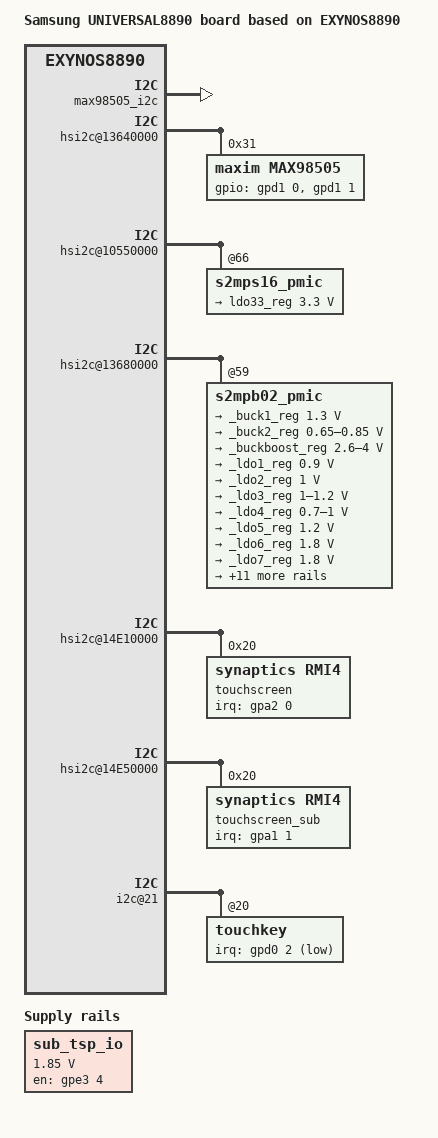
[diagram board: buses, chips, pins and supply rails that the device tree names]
/*
 * SAMSUNG UNIVERSAL8890 board device tree source
 *
 * Copyright (c) 2015 Samsung Electronics Co., Ltd.
 *		http://www.samsung.com
 *
 * This program is free software; you can redistribute it and/or modify
 * it under the terms of the GNU General Public License version 2 as
 * published by the Free Software Foundation.
*/
/dts-v1/;
#include "exynos8890-vlte_common.dtsi"
#include "exynos8890-vlte_gpio_01.dtsi"
#include "exynos8890-sound-cs47l91.dtsi"
#include "exynos8890-vlte_eur_battery_01.dtsi"
#include "exynos8890-vlte_display_01.dtsi"
#include "exynos8890-vlte_mst_01.dtsi"
#include "exynos8890-vlte_fingerprint-sensor_00.dtsi"
/ {

	model = "Samsung UNIVERSAL8890 board based on EXYNOS8890";
	model_info-chip = <8890>;
	model_info-platform = "android";
	model_info-subtype = "samsung";
	model_info-hw_rev = <1>;
	model_info-hw_rev_end = <1>;
	compatible = "samsung,exynos8890","samsung,UNIVERSAL8890";

	audio_pdata {
		compatible = "samsung,audio-pdata";
		seamless_voicewakeup;
		status = "okay";
	};

	pinctrl@10580000 {
		codec_irq: codec-irq {
			samsung,pins = "gpa2-6";
			samsung,pin-function = <0xf>;
			samsung,pin-pud = <0>;
		};
		max98505_ctrl: max98505-ctl {
			samsung,pins ="gpa2-2";
			samsung,pin-function = <0>;
			samsung,pin-pud = <0>;
			samsung,pin-con-pdn =<2>;
			samsung,pin-pud-pdn = <0>;
		};
		attn_irq: attn-irq {
			samsung,pins = "gpa2-0";
			samsung,pin-function = <0xf>;
			samsung,pin-pud = <0>;
			samsung,pin-drv = <0>;
		};
		attn_input: attn-input {
			samsung,pins = "gpa2-0";
			samsung,pin-function = <0>;
			samsung,pin-pud = <1>;
			samsung,pin-drv = <0>;
		};
	};

	hall {
		status = "disabled";
	};

	certify_hall { 
		status = "disabled";
	};

	pinctrl@136D0000 {
		max98505_i2c: max98505-i2c {
			samsung,pins = "gpd1-0", "gpd1-1";
			samsung,pin-pud = <0>;
			status = "okay";
		};
		/* touchkey i2c*/
		cfg_i2c: cfg-i2c {
			samsung,pins = "gpd0-0", "gpd0-1";
			samsung,pin-function = <2>;
			samsung,pin-pud = <3>;
			samsung,pin-drv = <0>;
		};
		cfg_gpio: cfg_gpio {
			samsung,pins = "gpd0-0", "gpd0-1";
			samsung,pin-function = <0>;
			samsung,pin-pud = <0>;
			samsung,pin-drv = <0>;
		};
		/* sub touchkey interrupt*/
		cfg_irq_sub: cfg-irq-sub {
			samsung,pins = "gpd0-2";
			samsung,pin-function = <0xf>;
			samsung,pin-pud = <3>;
			samsung,pin-drv = <0>;
		};
		cfg_input_sub: cfg-input-sub {
			samsung,pins = "gpd0-2";
			samsung,pin-function = <0>;
			samsung,pin-pud = <1>;
			samsung,pin-drv = <0>;
		};
	};

	pinctrl@14CC0000 {
		codec_reset: codec-reset {
			samsung,pins ="gpe6-5";
			samsung,pin-function = <1>;
			samsung,pin-pud = <1>;
			samsung,pin-con-pdn =<3>;
			samsung,pin-pud-pdn = <1>;
			samsung,pin-val = <0>;
		};
		/* sub touchkey i2c*/
		cfg_i2c_sub: cfg-i2c-sub {
			samsung,pins = "gpe1-2", "gpe1-3";
			samsung,pin-function = <2>;
			samsung,pin-pud = <3>;
			samsung,pin-drv = <0>;
		};
		cfg_gpio_sub: cfg_gpio_sub {
			samsung,pins = "gpe1-2", "gpe1-3";
			samsung,pin-function = <0>;
			samsung,pin-pud = <0>;
			samsung,pin-drv = <0>;
		};
	};

	hsi2c@13640000 {
		status = "okay";
		max98505@31 {
			compatible = "maxim,max98505";
			reg = <0x31>;
			pinctrl-names = "default";
			pinctrl-0 = <&max98505_i2c &max98505_ctrl>;
			gpios = <&gpd1 0 0
				&gpd1 1 0
				>;
			i2c-gpio,delay-us = <2>;
			maxim,platform_type = <0>;
			maxim,spk_vol = <0x14>;
			maxim,sysclk = <12288000>;
			maxim,vmon_slot = <0>;
			maxim,platform_info = <0 0x4000 0x0F010203 0x0FF10203 0x00000000 40>;
			maxim,boost_step = <
					0x0F 0x0F 0x0F 0x0F
					0x0F 0x0F 0x0F 0x0F
					0x0F 0x0F 0x0F 0x0F
					0x0F 0x0F 0x02 0x00
					>;
			maxim,adc_threshold = <7>;
		};
	};

	sound {
		mixer-paths = "mixer_paths_maxim.xml";
	};

	/* Main PMIC */
	hsi2c@10550000{
		s2mps16_pmic@66 {
			regulators {
				ldo33_reg: LDO33 {
					regulator-name = "VDD_SUB_TOUCH_3.3V";
					regulator-min-microvolt = <3300000>;
					regulator-max-microvolt = <3300000>;
					regulator-boot-on;
				};
			};
		};
	};
	/* Sub PMIC */
	hsi2c@13680000 {
		s2mpb02_pmic@59 {
			regulators {
				_buck1_reg: s2mpb02-buck1 {
					regulator-name = "VDD_1P3_EXT";
					regulator-min-microvolt = <1300000>;
					regulator-max-microvolt = <1300000>;
					regulator-always-on;
					regulator-boot-on;
				};

				_buck2_reg: s2mpb02-buck2 {
					regulator-name = "VDDD_CORE_0.8V_COMP";
					regulator-min-microvolt = <650000>;
					regulator-max-microvolt = <850000>;
				};

				_buckboost_reg: s2mpb02-bb {
					regulator-min-microvolt = <2600000>;
					regulator-max-microvolt = <4000000>;
					regulator-always-on;
					regulator-boot-on;
				};

				_ldo1_reg: s2mpb02-ldo1 {
					regulator-name = "VDDD_NORET_0.9V_COMP";
					regulator-min-microvolt = <900000>;
					regulator-max-microvolt = <900000>;
				};

				_ldo2_reg: s2mpb02-ldo2 {
					regulator-name = "VDDD_CORE_1.0V_COMP";
					regulator-min-microvolt = <1000000>;
					regulator-max-microvolt = <1000000>;
				};

				_ldo3_reg: s2mpb02-ldo3 {
					regulator-name = "VDDD_1.2V_CAM";
					regulator-min-microvolt = <1000000>;
					regulator-max-microvolt = <1200000>;
				};

				_ldo4_reg: s2mpb02-ldo4 {
					regulator-name = "VDDD_RET_1.0V_COMP";
					regulator-min-microvolt = <700000>;
					regulator-max-microvolt = <1000000>;
				};

				_ldo5_reg: s2mpb02-ldo5 {
					regulator-name = "VDDD_1.2V_VT";
					regulator-min-microvolt = <1200000>;
					regulator-max-microvolt = <1200000>;
				};

				_ldo6_reg: s2mpb02-ldo6 {
					regulator-name = "VDDIO_1.8V_VT";
					regulator-min-microvolt = <1800000>;
					regulator-max-microvolt = <1800000>;
				};

				_ldo7_reg: s2mpb02-ldo7 {
					regulator-name = "VDDIO_1.8V_CAM";
					regulator-min-microvolt = <1800000>;
					regulator-max-microvolt = <1800000>;
				};

				_ldo8_reg: s2mpb02-ldo8 {
					regulator-name = "VDDIO_1.8V_COMP";
					regulator-min-microvolt = <1800000>;
					regulator-max-microvolt = <1800000>;
				};

				_ldo9_reg: s2mpb02-ldo9 {
					regulator-name = "VDDA_1.8V_COMP";
					regulator-min-microvolt = <1800000>;
					regulator-max-microvolt = <1800000>;
				};

				_ldo10_reg: s2mpb02-ldo10 {
					regulator-name = "VDD_SUB_LCD_1P8";
					regulator-min-microvolt = <1800000>;
					regulator-max-microvolt = <1800000>;
				};

				_ldo11_reg: s2mpb02-ldo11 {
					regulator-name = "VDDA_2.9V_CAM";
					regulator-min-microvolt = <1000000>;
					regulator-max-microvolt = <2950000>;
				};

				_ldo12_reg: s2mpb02-ldo12 {
					regulator-name = "VDDAF_2.8V_CAM";
					regulator-min-microvolt = <2800000>;
					regulator-max-microvolt = <2800000>;
				};

				_ldo13_reg: s2mpb02-ldo13 {
					regulator-name = "VDDA_2.9V_VT";
					regulator-min-microvolt = <2900000>;
					regulator-max-microvolt = <2900000>;
				};

				_ldo14_reg: s2mpb02-ldo14 {
					regulator-name = "OIS_VM_2.8V";
					regulator-min-microvolt = <2800000>;
					regulator-max-microvolt = <2800000>;
				};

				_ldo15_reg: s2mpb02-ldo15 {
					regulator-name = "OIS_VDD_2.8V";
					regulator-min-microvolt = <2800000>;
					regulator-max-microvolt = <2800000>;
				};

				_ldo16_reg: s2mpb02-ldo16 {
					regulator-name = "VDD_SUB_LCD_3P0";
					regulator-min-microvolt = <3000000>;
					regulator-max-microvolt = <3000000>;
				};

				_ldo17_reg: s2mpb02-ldo17 {
					regulator-name = "sub_tsp_avdd";
					regulator-min-microvolt = <3300000>;
					regulator-max-microvolt = <3300000>;
				};

				_ldo18_reg: s2mpb02-ldo18 {
					regulator-name = "VDD_HALL_3P3";
					regulator-min-microvolt = <3300000>;
					regulator-max-microvolt = <3300000>;
					regulator-always-on;
				};
			};

			torch {
				torch1-gpio = "gpc0-3";
				flash1-gpio = "gpc0-2";

				status = "okay";

				leds1 {
					ledname = "leds-sec1";
					/* S2MPB02_FLASH_LED_1 */
					id = <0>;
					/* S2MPB02_FLASH_CURRENT */
					brightness = <0xF>;
					/* S2MPB02_FLASH_TIMEOUT */
					timeout = <0x3>;
				};

				leds2 {
					ledname = "torch-sec1";
					/* S2MPB02_TORCH_LED_1 */
					id = <1>;
					/* S2MPB02_TORCH_CURRENT */
					brightness = <0x9>;
					/* S2MPB02_TORCH_TIMEOUT */
					timeout = <0xF>;
				};
			};
		};
	};

	dwmmc2@15740000 {
		status = "disabled";
	};

	sub_tsp_ldo_en {
		compatible = "regulator-fixed";
		regulator-name = "sub_tsp_io";
		regulator-min-microvolt = <1850000>;
		regulator-max-microvolt = <1850000>;
		gpio = <&gpe3 4 0>;
		enable-active-high;
	};

	/* HSIC7 */
	hsi2c@14E10000 {
		samsung,i2c-sda-delay = <100>;
		samsung,i2c-max-bus-freq = <400000>;
		status = "okay";
		touchscreen@49 {
			compatible = "stm,fts_touch";
			status = "disabled";
		};
		touchscreen@20 {
			compatible = "synaptics,rmi4";
			reg = <0x20>;
			pinctrl-names = "on_state", "off_state";
			pinctrl-0 = <&attn_irq>;
			pinctrl-1 = <&attn_input>;
			synaptics,irq_gpio = <&gpa2 0 0>;
			synaptics,irq_type = <8200>;
			synaptics,max_coords = <1100 1900>;	/* x y */
			synaptics,num_lines = <28 16>;		/* rx tx */
			synaptics,regulator_dvdd = "tsp_io";
			synaptics,regulator_avdd = "tsp_avdd";
			synaptics,firmware_name = "tsp_synaptics/synaptics_s5300_v_ab.fw"; /* main */
		};
	};

	/* HSIC14 */
	hsi2c@14E50000 {
		samsung,i2c-sda-delay = <100>;
		samsung,i2c-max-bus-freq = <400000>;
		status = "okay";
		touchscreen_sub@49 {
			compatible = "stm,fts_touch";
			status = "disabled";
		};
		touchscreen_sub@20 {
			compatible = "synaptics,rmi4";
			reg = <0x20>;
			pinctrl-names = "on_state", "off_state";
			pinctrl-0 = <&attn_irq_sub>;
			pinctrl-1 = <&attn_input_sub>;
			synaptics,irq_gpio = <&gpa1 1 0>;
			synaptics,irq_type = <8200>;
			synaptics,max_coords = <1100 1900>;
			synaptics,num_lines = <28 16>;
			synaptics,regulator_dvdd = "sub_tsp_io";
			synaptics,regulator_avdd = "sub_tsp_avdd";
			synaptics,device_num = <2>;
			synaptics,firmware_name = "tsp_synaptics/synaptics_s5300_v_ac.fw"; 
		};
	};

	i2c@21{
		touchkey@20 {
			abov,irq-gpio = <&gpd0 2 1>;
		};
	};

	haptic {
		status = "okay";
		haptic,model = <2>;
		haptic,max_timeout = <10000>;
		haptic,duty = <37719>;
		haptic,period = <38100>;
		haptic,reg2 = <0x82>;
		haptic,pwm_id = <1>;
		haptic,regulator_name = "VDD_MOT_3.0V";

		ldo {
			status = "okay";
			compatible = "vib,ldo_en";
			pinctrl-names = "default";
			pinctrl-0 = <&vib_ldo_en>;
			ldo_en = <&gpe7 1 0>;
		};
	};
};
